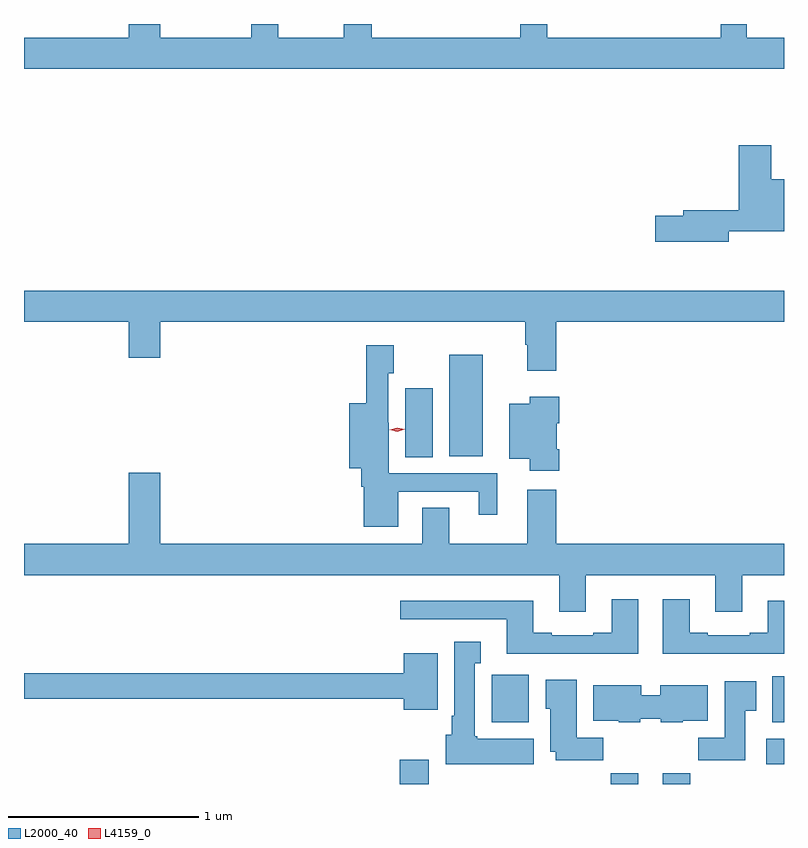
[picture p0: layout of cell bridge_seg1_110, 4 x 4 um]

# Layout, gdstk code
import gdstk
lib = gdstk.Library(unit=1e-6, precision=1e-09)
def R(c, l, rs):  # rectangles x0, y0, x1, y1
    for r in rs: c.add(gdstk.rectangle(r[:2], r[2:], *l))
def P(c, l, *ps):  # polygons
    for p in ps: c.add(gdstk.Polygon(p, *l))
L2000_40 = (2000, 40)
L4159_0 = (4159, 0)

bridge_seg1_110 = lib.new_cell('bridge_seg1_110')
R(bridge_seg1_110, L2000_40, [(166.433,521.328,166.585,521.455), (167.545,521.328,167.689,521.384), (167.819,521.328,167.963,521.384), (168.363,521.432,168.456,521.566), (166.917,521.654,167.113,521.904), (168.395,521.654,168.456,521.896), (166.463,523.048,166.606,523.411), (166.694,523.052,166.87,523.588)])
P(bridge_seg1_110, L2000_40, [(168.456,525.256),(168.261,525.256),(168.261,525.328),(168.123,525.328),(168.123,525.256),(167.209,525.256),(167.209,525.328),(167.069,525.328),(167.069,525.256),(166.285,525.256),(166.285,525.328),(166.138,525.328),(166.138,525.256),(165.793,525.256),(165.793,525.328),(165.653,525.328),(165.653,525.256),(165.172,525.256),(165.172,525.328),(165.008,525.328),(165.008,525.256),(164.456,525.256),(164.456,525.092),(168.456,525.092)],
  [(168.166,524.237),(168.456,524.237),(168.456,524.512),(168.388,524.512),(168.388,524.689),(168.218,524.689),(168.218,524.348),(167.927,524.348),(167.927,524.318),(167.778,524.318),(167.778,524.183),(168.166,524.183)],
  [(167.258,523.76),(168.456,523.76),(168.456,523.924),(164.456,523.924),(164.456,523.76),(165.008,523.76),(165.008,523.572),(165.172,523.572),(165.172,523.76),(167.093,523.76),(167.093,523.64),(167.105,523.64),(167.105,523.503),(167.258,523.503)],
  [(166.426,522.867),(166.85,522.867),(166.85,522.744),(166.948,522.744),(166.948,522.963),(166.375,522.963),(166.375,523.229),(166.374,523.229),(166.374,523.491),(166.401,523.491),(166.401,523.636),(166.258,523.636),(166.258,523.333),(166.169,523.333),(166.169,522.989),(166.232,522.989),(166.232,522.893),(166.244,522.893),(166.244,522.683),(166.426,522.683)],
  [(167.273,523.09),(167.26,523.09),(167.26,523.226),(167.273,523.226),(167.273,523.366),(167.117,523.366),(167.117,523.33),(167.009,523.33),(167.009,523.04),(167.117,523.04),(167.117,522.978),(167.273,522.978)],
  [(167.258,522.877),(167.105,522.877),(167.105,522.592),(166.693,522.592),(166.693,522.782),(166.553,522.782),(166.553,522.592),(165.172,522.592),(165.172,522.967),(165.008,522.967),(165.008,522.592),(164.456,522.592),(164.456,522.428),(167.273,522.428),(167.273,522.234),(167.413,522.234),(167.413,522.428),(168.095,522.428),(168.095,522.234),(168.235,522.234),(168.235,522.428),(168.456,522.428),(168.456,522.592),(167.258,522.592)],
  [(168.456,522.292),(168.371,522.292),(168.371,522.124),(168.275,522.124),(168.275,522.111),(168.055,522.111),(168.055,522.124),(167.959,522.124),(167.959,522.301),(167.819,522.301),(167.819,522.014),(168.456,522.014)],
  [(167.689,522.301),(167.549,522.301),(167.549,522.124),(167.453,522.124),(167.453,522.111),(167.233,522.111),(167.233,522.124),(167.137,522.124),(167.137,522.292),(166.437,522.292),(166.437,522.195),(166.997,522.195),(166.997,522.014),(167.689,522.014)],
  [(167.14,521.566),(166.842,521.566),(166.842,521.58),(166.828,521.58),(166.828,521.963),(166.861,521.963),(166.861,522.076),(166.721,522.076),(166.721,521.686),(166.706,521.686),(166.706,521.586),(166.676,521.586),(166.676,521.432),(167.14,521.432)],
  [(166.633,522.016),(166.454,522.016),(166.454,521.912),(164.456,521.912),(164.456,521.776),(166.454,521.776),(166.454,521.72),(166.633,521.72)],
  [(167.504,521.572),(167.365,521.572),(167.365,521.878),(167.201,521.878),(167.201,521.724),(167.225,521.724),(167.225,521.498),(167.255,521.498),(167.255,521.454),(167.504,521.454)],
  [(168.253,521.713),(168.31,521.713),(168.31,521.869),(168.143,521.869),(168.143,521.572),(168.004,521.572),(168.004,521.454),(168.253,521.454)],
  [(167.7,521.672),(167.808,521.672),(167.808,521.654),(167.922,521.654),(167.922,521.66),(168.055,521.66),(168.055,521.848),(167.804,521.848),(167.804,521.794),(167.704,521.794),(167.704,521.848),(167.453,521.848),(167.453,521.66),(167.586,521.66),(167.586,521.654),(167.7,521.654)])
P(bridge_seg1_110, L4159_0, [(166.42,523.183),(166.381,523.192),(166.38,523.193),(166.381,523.193),(166.42,523.203),(166.46,523.194),(166.46,523.194),(166.46,523.194)])

lib.write_gds('bridge_seg1_110.gds')
